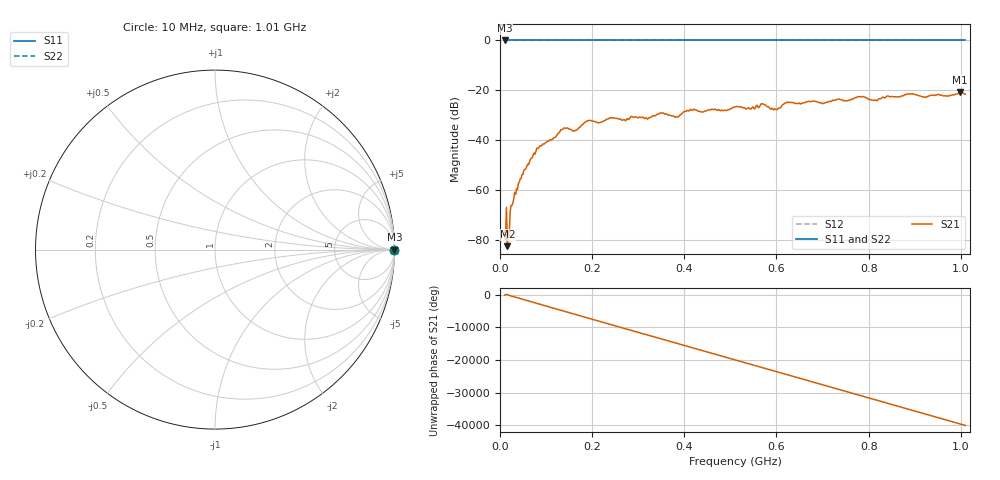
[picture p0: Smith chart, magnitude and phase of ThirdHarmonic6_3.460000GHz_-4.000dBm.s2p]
! 8/17/2025 11:11:57 AM
! C:\ANRITSUVNA\TEMP\TEMP.S2P
! CHANNEL.1
! TR.MEASUREMENT
! RAW.DATA
! RF.CORRECTION.OFF
! AVERAGING.OFF
! IF.BANDWIDTH: 5KHZ
! SWEEPTYPE:  FREQ.SWEEP(Linear)
! Reference Plane Port Info
! PORT:  PORT1  PORT2
! DISTANCE:  0  m  0  m
! TIME:  0  s  0  s
! PHASE.OFFSET:  0  deg.  0  deg.
! LOSS:  0  dB  0  dB
! REF.LOSS:  0  dB  0  dB
! REF.FREQ:  0  Hz  0  Hz
! Power Info
! POWER:  -20  dBm  -20  dBm
! EFF.POWER:  -20  dBm  -20  dBm
! SOURCE.ATTEN:  0  dB  0  dB
! TEST.ATTEN:  0  dB  0  dB
# GHZ S RI R 50.0
! FREQ.GHZ  S11RE  S11IM  S21RE  S21IM  S12RE  S12IM  S22RE  S22IM
!; PortSelection: Port_12
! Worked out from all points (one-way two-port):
!   501 points, 10 MHz to 1.01 GHz, reference 50 ohm
!   highest |S21| = -20.87 dB at 998 MHz (marker M1); lowest = -82.6 dB at 16 MHz (marker M2)
!   lowest |S11| = 0.0 dB at 10 MHz (marker M3)
!   |S11| at or under -10 dB: nowhere
!   |S22| runs from 0.0 to 0.0 dB; largest |S21 - S12| = 1.1
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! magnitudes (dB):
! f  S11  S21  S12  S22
! 10 MHz  0.0  -76.4  0.0  0.0
! 16 MHz  0.0  -82.6  0.0  0.0
! 20 MHz  0.0  -78.4  0.0  0.0
! 28 MHz  0.0  -65.2  0.0  0.0
! 44 MHz  0.0  -55.5  0.0  0.0
! 82 MHz  0.0  -43.4  0.0  0.0
! 136 MHz  0.0  -35.7  0.0  0.0
! 162 MHz  0.0  -36.3  0.0  0.0
! 178 MHz  0.0  -33.8  0.0  0.0
! 192 MHz  0.0  -32.2  0.0  0.0
! 318 MHz  0.0  -31.2  0.0  0.0
! 344 MHz  0.0  -29.6  0.0  0.0
! 384 MHz  0.0  -30.5  0.0  0.0
! 416 MHz  0.0  -27.9  0.0  0.0
! 510 MHz  0.0  -26.7  0.0  0.0
! 570 MHz  0.0  -25.4  0.0  0.0
! 598 MHz  0.0  -27.6  0.0  0.0
! 622 MHz  0.0  -24.9  0.0  0.0
! 678 MHz  0.0  -24.4  0.0  0.0
! 844 MHz  0.0  -22.5  0.0  0.0
! 998 MHz  0.0  -20.9  0.0  0.0
! 1.01 GHz  0.0  -21.6  0.0  0.0
